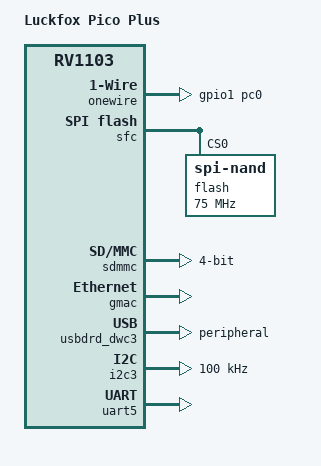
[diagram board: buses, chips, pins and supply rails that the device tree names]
// SPDX-License-Identifier: (GPL-2.0+ OR MIT)
/*
 * Copyright (c) 2022 Rockchip Electronics Co., Ltd.
 */

/dts-v1/;

#include "rv1103.dtsi"
#include "rv1106-evb.dtsi"
#include "rv1103-luckfox-pico-ipc.dtsi"

/ {
	model = "Luckfox Pico Plus";
	compatible = "rockchip,rv1103g-38x38-ipc-v10", "rockchip,rv1103";
};

/**********SFC**********/
&sfc {
	status = "okay";
	flash@0 {
		compatible = "spi-nand";
		reg = <0>;
		spi-max-frequency = <75000000>;
		spi-rx-bus-width = <4>;
		spi-tx-bus-width = <1>;
	};
};

/**********SDMMC**********/
&sdmmc {
	max-frequency = <50000000>;
	no-sdio;
	no-mmc;
	bus-width = <4>;
	cap-mmc-highspeed;
	cap-sd-highspeed;
	disable-wp;
	pinctrl-names = "default";
	pinctrl-0 = <&sdmmc0_clk &sdmmc0_cmd &sdmmc0_det &sdmmc0_bus4>;
	status = "okay";
};

/**********ETH**********/
&gmac {
	status = "okay";
};

/**********USB**********/
&usbdrd_dwc3 {
	status = "okay";
	dr_mode = "peripheral";
};

/**********SPI**********/
/* SPI0_M0 */
&spi0 {
	status = "disabled";
	spidev@0 {
		spi-max-frequency = <50000000>;
	};
  fbtft@0 {
    spi-max-frequency = <50000000>;
  };
};

/**********I2C**********/
/* I2C3_M1 */
&i2c3 {
	status = "okay";
	clock-frequency = <100000>;
};

/* I2C0_M2 */
&i2c0 {
	status = "disabled";
	clock-frequency = <100000>;
};

/**** 1-wire ****/
/{
    onewire: onewire {
        compatible = "w1-gpio";
        gpios = <&gpio1 RK_PC0 GPIO_ACTIVE_HIGH>;
        pinctrl-names = "default";
        pinctrl-0 = <&gpio1_pc0>;
        status = "okay";
    };
};

&pinctrl {
    gpio1-pc0 {
        gpio1_pc0:gpio1-pc0 {
            rockchip,pins = <1 RK_PC0 RK_FUNC_GPIO &pcfg_pull_none>;
        };
    };

	gpio1-pc1 {
        gpio1_pc1:gpio1-pc1 {
            rockchip,pins = <1 RK_PC1 RK_FUNC_GPIO &pcfg_pull_none>;
        };
    };

	gpio1-pc2 {
        gpio1_pc2:gpio1-pc2 {
            rockchip,pins = <1 RK_PC2 RK_FUNC_GPIO &pcfg_pull_none>;
        };
    };

	gpio1-pc3 {
        gpio1_pc3:gpio1-pc3 {
            rockchip,pins = <1 RK_PC3 RK_FUNC_GPIO &pcfg_pull_none>;
        };
    };
};

/**********UART**********/
/* UART3_M1 */
&uart3 {
	status = "disabled";
};

/* UART4_M1 */
&uart4 {
	status = "disabled";
};

/* UART5_M1 */
&uart5 {
	status = "okay";
};

/**********PWM**********/
/* PWM1_M0 */
&pwm1 {
	status = "disabled";
};
